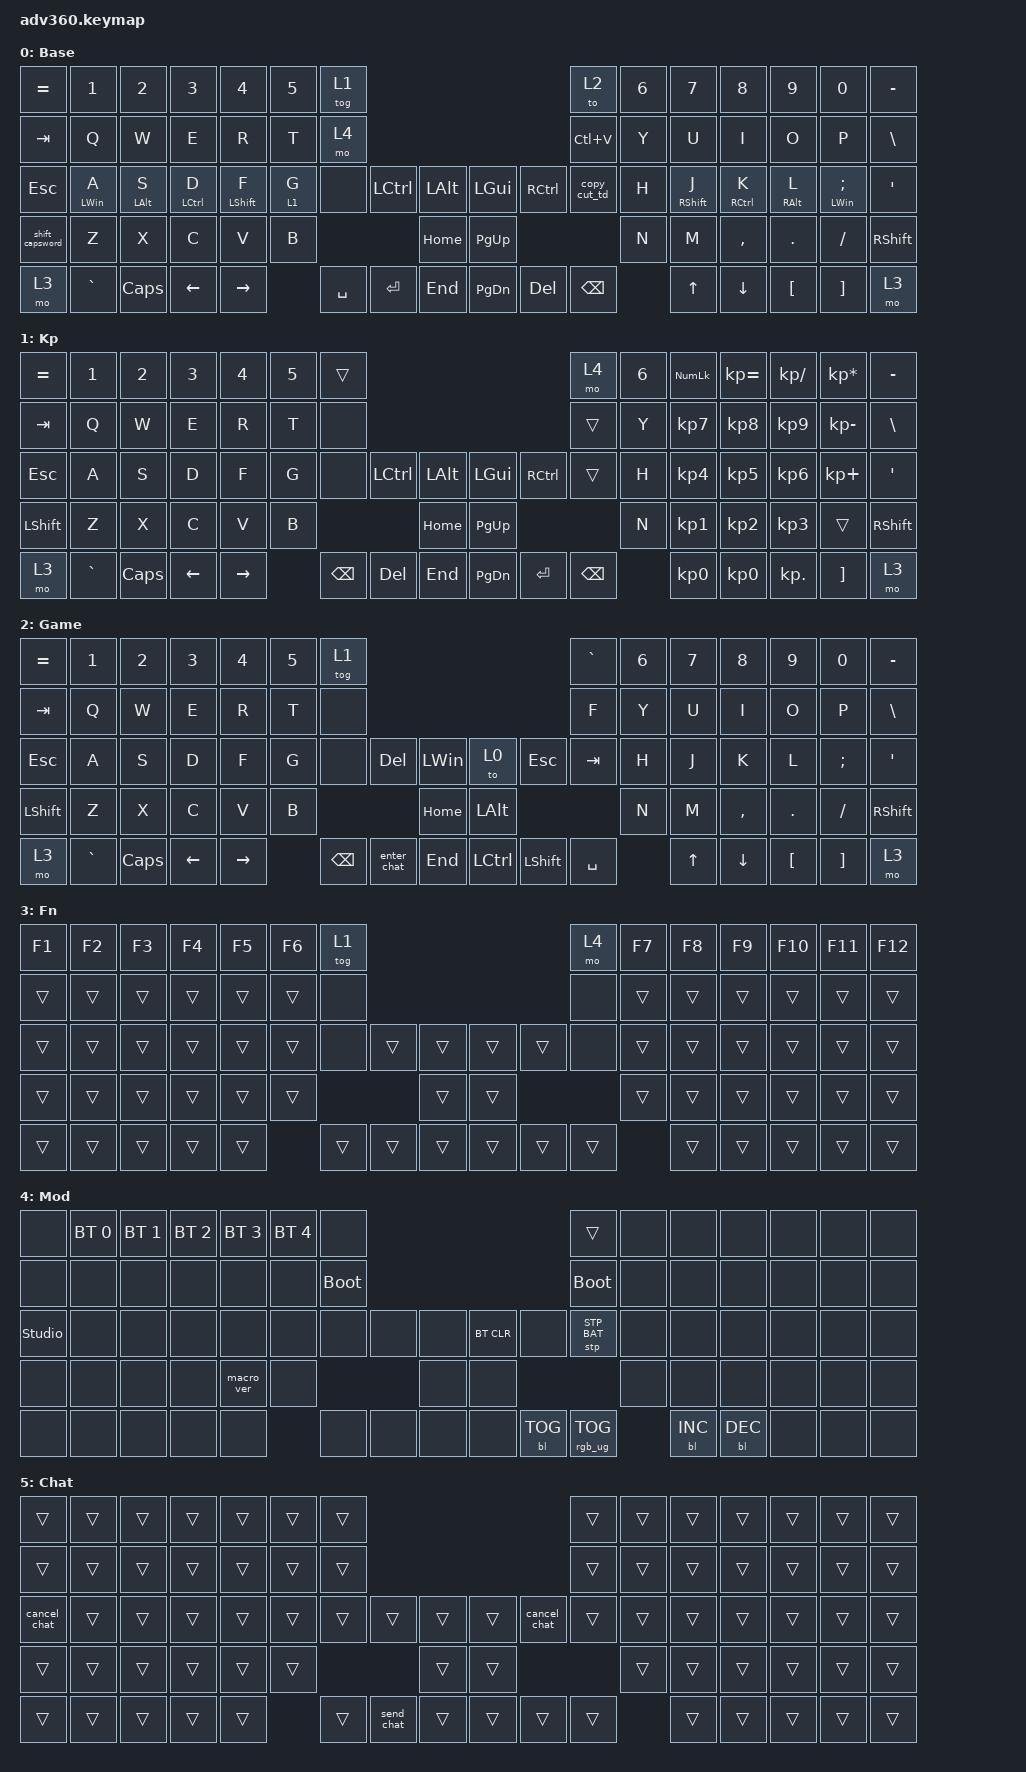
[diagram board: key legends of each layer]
#include <dt-bindings/zmk/stp.h>
#include <behaviors.dtsi>
#include <dt-bindings/zmk/backlight.h>
#include <dt-bindings/zmk/bt.h>
#include <dt-bindings/zmk/keys.h>
#include <dt-bindings/zmk/rgb.h>

/ {
    behaviors {
        #include "macros.dtsi"
      #include "version.dtsi"

        hm: homerow_mods {
            compatible = "zmk,behavior-hold-tap";
            label = "HOMEROW_MODS";
            #binding-cells = <2>;
            tapping-term-ms = <200>;
            quick_tap_ms = <175>;
            flavor = "tap-preferred";
            bindings = <&kp>, <&kp>;
        };

        shift_capsword: shift_capsword {
            compatible = "zmk,behavior-tap-dance";
            label = "SHIFT_CAPSWORD";
            #binding-cells = <0>;
            bindings = <&kp LEFT_SHIFT>, <&caps_word>;

            tapping-term-ms = <200>;
        };

        hml: hml {
            compatible = "zmk,behavior-hold-tap";
            label = "HML";
            bindings = <&kp>, <&kp>;

            #binding-cells = <2>;
            tapping-term-ms = <280>;
            quick-tap-ms = <175>;
            flavor = "balanced";
            hold-trigger-on-release;
            require-prior-idle-ms = <150>;
            hold-trigger-key-positions = <7 8 9 10 11 12 13 21 22 23 24 25 26 27 37 38 39 40 41 42 43 44 45 53 54 55 56 57 58 59 68 69 70 71 72 73 74 75 35 36 52 65 66 67>;
        };

        hmr: hmr {
            compatible = "zmk,behavior-hold-tap";
            label = "HMR";
            bindings = <&kp>, <&kp>;

            #binding-cells = <2>;
            tapping-term-ms = <280>;
            quick-tap-ms = <175>;
            require-prior-idle-ms = <150>;
            flavor = "balanced";
            hold-trigger-on-release;
            hold-trigger-key-positions = <0 1 2 3 4 5 6 14 15 16 17 18 19 20 28 29 30 31 32 33 34 35 36 46 47 48 49 50 51 52 60 61 62 63 64 65 66 67 37 38 53 68 69 70 15 29 15 16 30>;
        };

        copy_cut_td: copy_cut_td {
            compatible = "zmk,behavior-tap-dance";
            label = "COPY_CUT_TD";
            #binding-cells = <0>;
            bindings = <&kp LC(C)>, <&kp LC(X)>;
        };
    };

    combos {
        compatible = "zmk,combos";

        tog_game {
            bindings = <&tog 2>;
            key-positions = <45 28>;
        };
    };

    macros {
        enter_chat: enter_chat {
            compatible = "zmk,behavior-macro";
            #binding-cells = <0>;
            bindings = <&kp RET &to 5>;
            label = "ENTER_CHAT";
        };

        send_chat: send_chat {
            compatible = "zmk,behavior-macro";
            #binding-cells = <0>;
            bindings = <&kp RET &to 2>;
            label = "SEND_CHAT";
        };

        cancel_chat: cancel_chat {
            compatible = "zmk,behavior-macro";
            #binding-cells = <0>;
            bindings = <&kp ESC &to 2>;
            label = "CANCEL_CHAT";
        };
    };

    keymap {
        compatible = "zmk,keymap";

        default_layer {
            display-name = "Base";
            bindings = <
&kp EQUAL        &kp N1           &kp N2           &kp N3        &kp N4             &kp N5   &tog 1                                                      &to 2          &kp N6  &kp N7              &kp N8        &kp N9            &kp N0              &kp MINUS
&kp TAB          &kp Q            &kp W            &kp E         &kp R              &kp T    &mo 4                                                       &kp LC(V)      &kp Y   &kp U               &kp I         &kp O             &kp P               &kp BSLH
&kp ESC          &hml LEFT_WIN A  &hml LEFT_ALT S  &hml LCTRL D  &hml LEFT_SHIFT F  &lt 1 G  &none      &kp LCTRL   &kp LALT      &kp LGUI   &kp RCTRL   &copy_cut_td   &kp H   &hmr RIGHT_SHIFT J  &hmr RCTRL K  &hmr RIGHT_ALT L  &hmr LEFT_WIN SEMI  &kp SQT
&shift_capsword  &kp Z            &kp X            &kp C         &kp V              &kp B                           &kp HOME      &kp PG_UP                             &kp N   &kp M               &kp COMMA     &kp DOT           &kp FSLH            &kp RSHFT
&mo 3            &kp GRAVE        &kp CAPS         &kp LEFT      &kp RIGHT                   &kp SPACE  &kp RETURN  &kp END       &kp PG_DN  &kp DELETE  &kp BACKSPACE          &kp UP              &kp DOWN      &kp LBKT          &kp RBKT            &mo 3
            >;
        };

        keypad {
            display-name = "Kp";
            bindings = <
&kp EQUAL  &kp N1     &kp N2    &kp N3    &kp N4     &kp N5  &trans                                                           &mo 4          &kp N6  &kp KP_NUM       &kp KP_EQUAL     &kp KP_DIVIDE  &kp KP_MULTIPLY  &kp MINUS
&kp TAB    &kp Q      &kp W     &kp E     &kp R      &kp T   &none                                                            &trans         &kp Y   &kp KP_N7        &kp KP_N8        &kp KP_N9      &kp KP_MINUS     &kp BSLH
&kp ESC    &kp A      &kp S     &kp D     &kp F      &kp G   &none     &kp LCTRL  &kp LALT      &kp LGUI   &kp RIGHT_CONTROL  &trans         &kp H   &kp KP_N4        &kp KP_N5        &kp KP_N6      &kp KP_PLUS      &kp SQT
&kp LSHFT  &kp Z      &kp X     &kp C     &kp V      &kp B                        &kp HOME      &kp PG_UP                                    &kp N   &kp KP_N1        &kp KP_N2        &kp KP_N3      &trans           &kp RSHFT
&mo 3      &kp GRAVE  &kp CAPS  &kp LEFT  &kp RIGHT          &kp BSPC  &kp DEL    &kp END       &kp PG_DN  &kp ENTER          &kp BACKSPACE          &kp KP_NUMBER_0  &kp KP_NUMBER_0  &kp KP_DOT     &kp RBKT         &mo 3
            >;
        };

        extra1 {
            display-name = "Game";
            bindings = <
&kp EQUAL  &kp N1     &kp N2    &kp N3    &kp N4     &kp N5  &tog 1                                                                          &kp GRAVE  &kp N6  &kp N7  &kp N8     &kp N9    &kp N0    &kp MINUS
&kp TAB    &kp Q      &kp W     &kp E     &kp R      &kp T   &none                                                                           &kp F      &kp Y   &kp U   &kp I      &kp O     &kp P     &kp BSLH
&kp ESC    &kp A      &kp S     &kp D     &kp F      &kp G   &none          &kp DEL      &kp LEFT_WIN      &to 0             &kp ESCAPE      &kp TAB    &kp H   &kp J   &kp K      &kp L     &kp SEMI  &kp SQT
&kp LSHFT  &kp Z      &kp X     &kp C     &kp V      &kp B                               &kp HOME          &kp LEFT_ALT                                 &kp N   &kp M   &kp COMMA  &kp DOT   &kp FSLH  &kp RSHFT
&mo 3      &kp GRAVE  &kp CAPS  &kp LEFT  &kp RIGHT          &kp BACKSPACE  &enter_chat  &kp END           &kp LEFT_CONTROL  &kp LEFT_SHIFT  &kp SPACE          &kp UP  &kp DOWN   &kp LBKT  &kp RBKT  &mo 3
            >;
        };

        fn {
            display-name = "Fn";
            bindings = <
&kp F1  &kp F2  &kp F3  &kp F4  &kp F5  &kp F6  &tog 1                                      &mo 4   &kp F7  &kp F8  &kp F9  &kp F10  &kp F11  &kp F12
&trans  &trans  &trans  &trans  &trans  &trans  &none                                       &none   &trans  &trans  &trans  &trans   &trans   &trans
&trans  &trans  &trans  &trans  &trans  &trans  &none   &trans  &trans      &trans  &trans  &none   &trans  &trans  &trans  &trans   &trans   &trans
&trans  &trans  &trans  &trans  &trans  &trans                  &trans      &trans                  &trans  &trans  &trans  &trans   &trans   &trans
&trans  &trans  &trans  &trans  &trans          &trans  &trans  &trans      &trans  &trans  &trans          &trans  &trans  &trans   &trans   &trans
            >;
        };

        mod {
            display-name = "Mod";
            bindings = <
&none           &bt BT_SEL 0  &bt BT_SEL 1  &bt BT_SEL 2  &bt BT_SEL 3  &bt BT_SEL 4  &none                                                  &trans           &none  &none       &none       &none  &none  &none
&none           &none         &none         &none         &none         &none         &bootloader                                            &bootloader      &none  &none       &none       &none  &none  &none
&studio_unlock  &none         &none         &none         &none         &none         &none        &none  &none      &bt BT_CLR  &none       &stp STP_BAT     &none  &none       &none       &none  &none  &none
&none           &none         &none         &none         &macro_ver    &none                             &none      &none                                    &none  &none       &none       &none  &none  &none
&none           &none         &none         &none         &none                       &none        &none  &none      &none       &bl BL_TOG  &rgb_ug RGB_TOG         &bl BL_INC  &bl BL_DEC  &none  &none  &none
            >;
        };

        extra2 {
            display-name = "Chat";
            bindings = <
&trans        &trans  &trans  &trans  &trans  &trans  &trans                                                &trans  &trans  &trans  &trans  &trans  &trans  &trans
&trans        &trans  &trans  &trans  &trans  &trans  &trans                                                &trans  &trans  &trans  &trans  &trans  &trans  &trans
&cancel_chat  &trans  &trans  &trans  &trans  &trans  &trans  &trans      &trans      &trans  &cancel_chat  &trans  &trans  &trans  &trans  &trans  &trans  &trans
&trans        &trans  &trans  &trans  &trans  &trans                      &trans      &trans                        &trans  &trans  &trans  &trans  &trans  &trans
&trans        &trans  &trans  &trans  &trans          &trans  &send_chat  &trans      &trans  &trans        &trans          &trans  &trans  &trans  &trans  &trans
            >;
        };

        extra3 {
            display-name = "Cyan";
            status = "reserved";
        };

        extra4 {
            display-name = "Yellow";
            status = "reserved";
        };
    };
};
